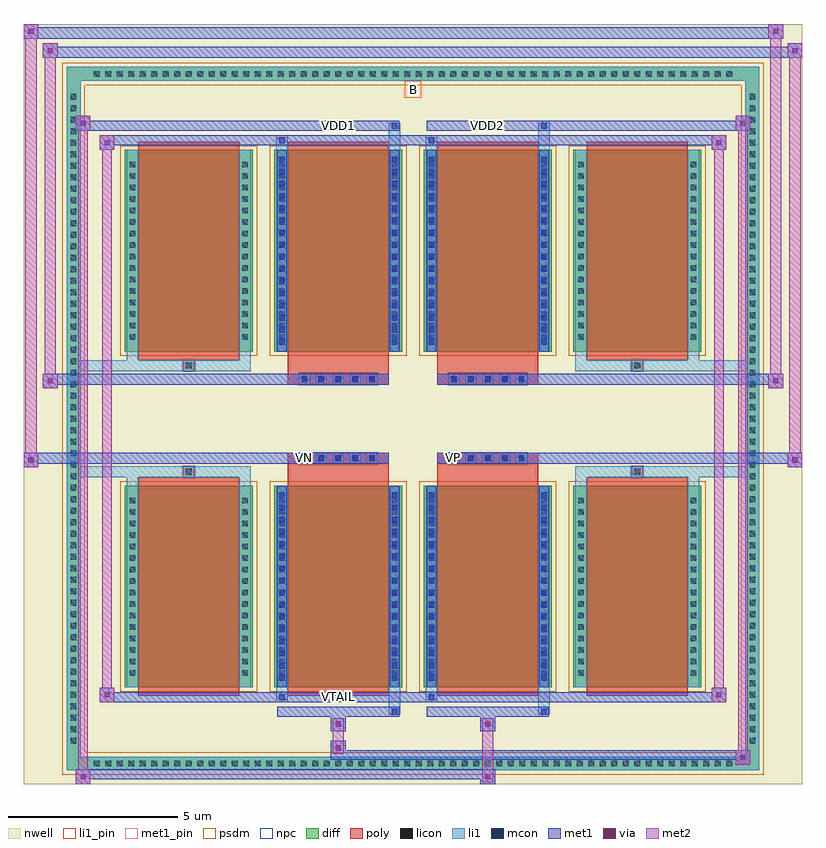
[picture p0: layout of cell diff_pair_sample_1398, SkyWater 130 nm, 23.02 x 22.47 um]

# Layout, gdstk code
import gdstk
lib = gdstk.Library(unit=1e-6, precision=5e-09)
def R(c, l, rs):  # rectangles x0, y0, x1, y1
    for r in rs: c.add(gdstk.rectangle(r[:2], r[2:], *l))
def A(c, l, x, y, w, h, nx, ny, dx, dy):  # array of equal rectangles
    R(c, l, [(x+i*dx, y+j*dy, x+i*dx+w, y+j*dy+h) for i in range(nx) for j in range(ny)])
def P(c, l, *ps):  # polygons
    for p in ps: c.add(gdstk.Polygon(p, *l))
nwell = (64, 20)
diff = (65, 20)
poly = (66, 20)
licon = (66, 44)
li1_pin = (67, 16)
li1 = (67, 20)
mcon = (67, 44)
met1_pin = (68, 16)
met1 = (68, 20)
via = (68, 44)
met2 = (69, 20)
psdm = (94, 20)
npc = (95, 20)

diff_pair_sample_1398 = lib.new_cell('diff_pair_sample_1398')
R(diff_pair_sample_1398, nwell, [(-11.51,-10.8,11.51,11.67), (-8.83,-8.99,-0.01,-0.805), (0.01,-8.99,8.83,-0.805), (-8.83,0.805,-0.01,8.99), (0.01,0.805,8.83,8.99)])
A(diff_pair_sample_1398, diff, -9.555, -10.4, 0.41, 0.41, 56, 2, 0.34, 20.39)
A(diff_pair_sample_1398, diff, -10.24, -9.725, 0.41, 0.41, 1, 57, 0, 0.34)
A(diff_pair_sample_1398, diff, 9.83, -9.725, 0.41, 0.41, 1, 57, 0, 0.34)
A(diff_pair_sample_1398, diff, -8.52, -7.945, 3.78, 5.96, 4, 2, 4.42, 9.93)
R(diff_pair_sample_1398, diff, [(-9.555,-10.4,9.555,-9.99), (-10.24,-9.725,-9.83,9.725), (9.83,-9.725,10.24,9.725), (-9.555,9.99,9.555,10.4)])
P(diff_pair_sample_1398, diff, [(10.24,10.4),(-10.24,10.4),(-10.24,-9.99),(-9.83,-9.99),(-9.83,9.99),(9.83,9.99),(9.83,-9.99),(-9.83,-9.99),(-10.24,-9.99),(-10.24,-10.4),(10.24,-10.4)])
A(diff_pair_sample_1398, poly, -8.13, -8.195, 3, 6.46, 4, 2, 4.42, 9.93)
A(diff_pair_sample_1398, poly, -3.375, -1.335, 0.33, 0.33, 5, 2, 0.5, 2.34)
A(diff_pair_sample_1398, poly, 1.045, -1.335, 0.33, 0.33, 5, 2, 0.5, 2.34)
R(diff_pair_sample_1398, poly, [(-6.795,-1.735,-6.465,-1.405), (-6.795,-1.735,-6.465,-1.405), (-3.71,-1.735,-0.71,-1.335), (0.71,-1.735,3.71,-1.335), (6.465,-1.735,6.795,-1.405), (6.465,-1.735,6.795,-1.405), (-3.71,-1.335,-0.71,-1.005), (0.71,-1.335,3.71,-1.005), (-3.71,1.005,-0.71,1.335), (0.71,1.005,3.71,1.335), (-3.71,1.335,-0.71,1.735), (0.71,1.335,3.71,1.735), (-6.795,1.405,-6.465,1.735), (-6.795,1.405,-6.465,1.735), (6.465,1.405,6.795,1.735), (6.465,1.405,6.795,1.735)])
A(diff_pair_sample_1398, licon, -9.435, -10.28, 0.17, 0.17, 56, 2, 0.34, 20.39)
A(diff_pair_sample_1398, licon, -10.12, -9.605, 0.17, 0.17, 1, 57, 0, 0.34)
A(diff_pair_sample_1398, licon, 9.95, -9.605, 0.17, 0.17, 1, 57, 0, 0.34)
A(diff_pair_sample_1398, licon, -8.38, -7.6, 0.17, 0.17, 1, 16, 0, 0.34)
A(diff_pair_sample_1398, licon, -5.05, -7.6, 0.17, 0.17, 1, 16, 0, 0.34)
A(diff_pair_sample_1398, licon, -3.96, -7.6, 0.17, 0.17, 1, 16, 0, 0.34)
A(diff_pair_sample_1398, licon, -0.63, -7.6, 0.17, 0.17, 1, 16, 0, 0.34)
A(diff_pair_sample_1398, licon, 0.46, -7.6, 0.17, 0.17, 1, 16, 0, 0.34)
A(diff_pair_sample_1398, licon, 3.79, -7.6, 0.17, 0.17, 1, 16, 0, 0.34)
A(diff_pair_sample_1398, licon, 4.88, -7.6, 0.17, 0.17, 1, 16, 0, 0.34)
A(diff_pair_sample_1398, licon, 8.21, -7.6, 0.17, 0.17, 1, 16, 0, 0.34)
A(diff_pair_sample_1398, licon, -3.295, -1.255, 0.17, 0.17, 5, 2, 0.5, 2.34)
A(diff_pair_sample_1398, licon, 1.125, -1.255, 0.17, 0.17, 5, 2, 0.5, 2.34)
A(diff_pair_sample_1398, licon, -8.38, 2.33, 0.17, 0.17, 1, 16, 0, 0.34)
A(diff_pair_sample_1398, licon, -5.05, 2.33, 0.17, 0.17, 1, 16, 0, 0.34)
A(diff_pair_sample_1398, licon, -3.96, 2.33, 0.17, 0.17, 1, 16, 0, 0.34)
A(diff_pair_sample_1398, licon, -0.63, 2.33, 0.17, 0.17, 1, 16, 0, 0.34)
A(diff_pair_sample_1398, licon, 0.46, 2.33, 0.17, 0.17, 1, 16, 0, 0.34)
A(diff_pair_sample_1398, licon, 3.79, 2.33, 0.17, 0.17, 1, 16, 0, 0.34)
A(diff_pair_sample_1398, licon, 4.88, 2.33, 0.17, 0.17, 1, 16, 0, 0.34)
A(diff_pair_sample_1398, licon, 8.21, 2.33, 0.17, 0.17, 1, 16, 0, 0.34)
R(diff_pair_sample_1398, licon, [(-6.715,-1.655,-6.545,-1.485), (6.545,-1.655,6.715,-1.485), (-6.715,1.485,-6.545,1.655), (6.545,1.485,6.715,1.655)])
R(diff_pair_sample_1398, li1_pin, [(-0.25,9.49,0.25,9.99)])
A(diff_pair_sample_1398, li1, -9.515, -10.36, 0.33, 0.33, 56, 2, 0.34, 20.39)
A(diff_pair_sample_1398, li1, -10.2, -9.685, 0.33, 0.33, 1, 57, 0, 0.34)
A(diff_pair_sample_1398, li1, 9.87, -9.685, 0.33, 0.33, 1, 57, 0, 0.34)
A(diff_pair_sample_1398, li1, -3.96, -7.75, 0.17, 0.17, 1, 16, 0, 0.36)
A(diff_pair_sample_1398, li1, -0.63, -7.75, 0.17, 0.17, 1, 16, 0, 0.36)
A(diff_pair_sample_1398, li1, 0.46, -7.75, 0.17, 0.17, 1, 16, 0, 0.36)
A(diff_pair_sample_1398, li1, 3.79, -7.75, 0.17, 0.17, 1, 16, 0, 0.36)
A(diff_pair_sample_1398, li1, -8.46, -7.68, 0.33, 0.33, 1, 16, 0, 0.34)
A(diff_pair_sample_1398, li1, -5.13, -7.68, 0.33, 0.33, 1, 16, 0, 0.34)
A(diff_pair_sample_1398, li1, -4.04, -7.68, 0.33, 0.33, 1, 16, 0, 0.34)
A(diff_pair_sample_1398, li1, -0.71, -7.68, 0.33, 0.33, 1, 16, 0, 0.34)
A(diff_pair_sample_1398, li1, 0.38, -7.68, 0.33, 0.33, 1, 16, 0, 0.34)
A(diff_pair_sample_1398, li1, 3.71, -7.68, 0.33, 0.33, 1, 16, 0, 0.34)
A(diff_pair_sample_1398, li1, 4.8, -7.68, 0.33, 0.33, 1, 16, 0, 0.34)
A(diff_pair_sample_1398, li1, 8.13, -7.68, 0.33, 0.33, 1, 16, 0, 0.34)
A(diff_pair_sample_1398, li1, -3.375, -1.335, 0.33, 0.33, 5, 2, 0.5, 2.34)
A(diff_pair_sample_1398, li1, 1.045, -1.335, 0.33, 0.33, 5, 2, 0.5, 2.34)
A(diff_pair_sample_1398, li1, -3.96, 2.18, 0.17, 0.17, 1, 16, 0, 0.36)
A(diff_pair_sample_1398, li1, -0.63, 2.18, 0.17, 0.17, 1, 16, 0, 0.36)
A(diff_pair_sample_1398, li1, 0.46, 2.18, 0.17, 0.17, 1, 16, 0, 0.36)
A(diff_pair_sample_1398, li1, 3.79, 2.18, 0.17, 0.17, 1, 16, 0, 0.36)
A(diff_pair_sample_1398, li1, -8.46, 2.25, 0.33, 0.33, 1, 16, 0, 0.34)
A(diff_pair_sample_1398, li1, -5.13, 2.25, 0.33, 0.33, 1, 16, 0, 0.34)
A(diff_pair_sample_1398, li1, -4.04, 2.25, 0.33, 0.33, 1, 16, 0, 0.34)
A(diff_pair_sample_1398, li1, -0.71, 2.25, 0.33, 0.33, 1, 16, 0, 0.34)
A(diff_pair_sample_1398, li1, 0.38, 2.25, 0.33, 0.33, 1, 16, 0, 0.34)
A(diff_pair_sample_1398, li1, 3.71, 2.25, 0.33, 0.33, 1, 16, 0, 0.34)
A(diff_pair_sample_1398, li1, 4.8, 2.25, 0.33, 0.33, 1, 16, 0, 0.34)
A(diff_pair_sample_1398, li1, 8.13, 2.25, 0.33, 0.33, 1, 16, 0, 0.34)
R(diff_pair_sample_1398, li1, [(-10.24,-10.4,-9.83,-9.99), (-10.24,-10.4,-9.83,-9.99), (-9.83,-10.4,9.83,-9.99), (9.83,-10.4,10.24,-9.99), (9.83,-10.4,10.24,-9.99), (-10.24,-9.99,-9.83,9.99), (9.83,-9.99,10.24,9.99), (-0.71,-8.75,-0.38,-7.945), (-0.63,-8.75,-0.46,-8.58), (3.71,-8.75,4.04,-7.945), (3.79,-8.75,3.96,-8.58), (-4.04,-8.32,-3.71,-7.945), (-3.96,-8.32,-3.79,-8.15), (0.38,-8.32,0.71,-7.945), (0.46,-8.32,0.63,-8.15), (-8.46,-7.945,-8.13,-1.985), (-5.13,-7.945,-4.8,-1.985), (-4.04,-7.945,-3.71,-1.985), (-0.71,-7.945,-0.38,-1.985), (0.38,-7.945,0.71,-1.985), (3.71,-7.945,4.04,-1.985), (4.8,-7.945,5.13,-1.985), (8.13,-7.945,8.46,-1.985), (-3.96,-7.75,-3.79,-2.18), (-0.63,-7.75,-0.46,-2.18), (0.46,-7.75,0.63,-2.18), (3.79,-7.75,3.96,-2.18), (-8.46,-1.985,-8.13,-1.405), (-5.13,-1.985,-4.8,-1.405), (4.8,-1.985,5.13,-1.405), (8.13,-1.985,8.46,-1.405), (-10.24,-1.735,-6.795,-1.405), (-8.46,-1.735,-6.795,-1.405), (-6.795,-1.735,-6.465,-1.405), (-6.465,-1.735,-4.8,-1.405), (4.8,-1.735,6.465,-1.405), (6.465,-1.735,6.795,-1.405), (6.465,-1.735,10.24,-1.405), (6.795,-1.735,8.46,-1.405), (-10.24,1.405,-6.795,1.735), (-8.46,1.405,-6.795,1.735), (-8.46,1.405,-8.13,1.985), (-6.795,1.405,-6.465,1.735), (-6.465,1.405,-4.8,1.735), (-5.13,1.405,-4.8,1.985), (4.8,1.405,6.465,1.735), (4.8,1.405,5.13,1.985), (6.465,1.405,6.795,1.735), (6.465,1.405,10.24,1.735), (6.795,1.405,8.46,1.735), (8.13,1.405,8.46,1.985), (-8.46,1.985,-8.13,7.945), (-5.13,1.985,-4.8,7.945), (-4.04,1.985,-3.71,7.945), (-0.71,1.985,-0.38,7.945), (0.38,1.985,0.71,7.945), (3.71,1.985,4.04,7.945), (4.8,1.985,5.13,7.945), (8.13,1.985,8.46,7.945), (-3.96,2.18,-3.79,7.75), (-0.63,2.18,-0.46,7.75), (0.46,2.18,0.63,7.75), (3.79,2.18,3.96,7.75), (-4.04,7.945,-3.71,8.32), (-0.71,7.945,-0.38,8.75), (0.38,7.945,0.71,8.32), (3.71,7.945,4.04,8.75), (-3.96,8.15,-3.79,8.32), (0.46,8.15,0.63,8.32), (-0.63,8.58,-0.46,8.75), (3.79,8.58,3.96,8.75), (-10.24,9.99,-9.83,10.4), (-10.24,9.99,-9.83,10.4), (-9.83,9.99,9.83,10.4), (9.83,9.99,10.24,10.4), (9.83,9.99,10.24,10.4)])
A(diff_pair_sample_1398, mcon, -3.96, -7.75, 0.17, 0.17, 1, 16, 0, 0.36)
A(diff_pair_sample_1398, mcon, -0.63, -7.75, 0.17, 0.17, 1, 16, 0, 0.36)
A(diff_pair_sample_1398, mcon, 0.46, -7.75, 0.17, 0.17, 1, 16, 0, 0.36)
A(diff_pair_sample_1398, mcon, 3.79, -7.75, 0.17, 0.17, 1, 16, 0, 0.36)
A(diff_pair_sample_1398, mcon, -3.295, -1.255, 0.17, 0.17, 5, 2, 0.5, 2.34)
A(diff_pair_sample_1398, mcon, 1.125, -1.255, 0.17, 0.17, 5, 2, 0.5, 2.34)
A(diff_pair_sample_1398, mcon, -3.96, 2.18, 0.17, 0.17, 1, 16, 0, 0.36)
A(diff_pair_sample_1398, mcon, -0.63, 2.18, 0.17, 0.17, 1, 16, 0, 0.36)
A(diff_pair_sample_1398, mcon, 0.46, 2.18, 0.17, 0.17, 1, 16, 0, 0.36)
A(diff_pair_sample_1398, mcon, 3.79, 2.18, 0.17, 0.17, 1, 16, 0, 0.36)
R(diff_pair_sample_1398, mcon, [(-0.63,-8.75,-0.46,-8.58), (3.79,-8.75,3.96,-8.58), (-3.96,-8.32,-3.79,-8.15), (0.46,-8.32,0.63,-8.15), (-3.96,8.15,-3.79,8.32), (0.46,8.15,0.63,8.32), (-0.63,8.58,-0.46,8.75), (3.79,8.58,3.96,8.75)])
R(diff_pair_sample_1398, met1_pin, [(-2.345,-8.36,-2.075,-8.09), (-3.345,-1.295,-3.075,-1.025), (1.075,-1.295,1.345,-1.025), (-2.345,8.54,-2.075,8.81), (2.075,8.54,2.345,8.81)])
A(diff_pair_sample_1398, met1, -4.02, -7.81, 0.29, 0.29, 1, 16, 0, 0.36)
A(diff_pair_sample_1398, met1, -0.69, -7.81, 0.29, 0.29, 1, 16, 0, 0.36)
A(diff_pair_sample_1398, met1, 0.4, -7.81, 0.29, 0.29, 1, 16, 0, 0.36)
A(diff_pair_sample_1398, met1, 3.73, -7.81, 0.29, 0.29, 1, 16, 0, 0.36)
A(diff_pair_sample_1398, met1, -3.355, -1.315, 0.29, 0.29, 5, 2, 0.5, 2.34)
A(diff_pair_sample_1398, met1, 1.065, -1.315, 0.29, 0.29, 5, 2, 0.5, 2.34)
A(diff_pair_sample_1398, met1, -4.02, 2.12, 0.29, 0.29, 1, 16, 0, 0.36)
A(diff_pair_sample_1398, met1, -0.69, 2.12, 0.29, 0.29, 1, 16, 0, 0.36)
A(diff_pair_sample_1398, met1, 0.4, 2.12, 0.29, 0.29, 1, 16, 0, 0.36)
A(diff_pair_sample_1398, met1, 3.73, 2.12, 0.29, 0.29, 1, 16, 0, 0.36)
R(diff_pair_sample_1398, met1, [(-9.97,-10.8,-9.54,-10.37), (1.995,-10.8,2.425,-10.37), (-9.97,-10.66,2.425,-10.37), (9.54,-10.23,9.97,-9.8), (-2.425,-10.09,9.97,-9.8), (-2.425,-9.95,-1.995,-9.52), (-2.425,-9.24,-1.995,-8.81), (1.995,-9.24,2.425,-8.81), (-4.02,-8.81,-0.4,-8.52), (-0.69,-8.81,-0.4,-8.52), (0.4,-8.81,4.02,-8.52), (3.73,-8.81,4.02,-8.52), (-9.26,-8.38,-8.83,-7.95), (-9.26,-8.38,-4.02,-8.09), (-4.02,-8.38,-3.73,-8.09), (-4.02,-8.38,-0.4,-8.09), (-0.4,-8.38,0.4,-8.09), (0.4,-8.38,0.69,-8.09), (0.4,-8.38,4.02,-8.09), (4.02,-8.38,9.26,-8.09), (8.83,-8.38,9.26,-7.95), (-4.02,-7.945,-3.73,-1.985), (-0.69,-7.945,-0.4,-1.985), (0.4,-7.945,0.69,-1.985), (3.73,-7.945,4.02,-1.985), (-11.51,-1.435,-11.08,-1.005), (11.08,-1.435,11.51,-1.005), (-11.51,-1.335,-0.71,-1.005), (-3.71,-1.335,-0.71,-1.005), (0.71,-1.335,3.71,-1.005), (0.71,-1.335,11.51,-1.005), (-10.94,0.905,-10.51,1.335), (10.51,0.905,10.94,1.335), (-10.94,1.005,-3.71,1.335), (-3.71,1.005,-0.71,1.335), (0.71,1.005,3.71,1.335), (3.71,1.005,10.94,1.335), (-4.02,1.985,-3.73,7.945), (-0.69,1.985,-0.4,7.945), (0.4,1.985,0.69,7.945), (3.73,1.985,4.02,7.945), (-9.26,7.95,-8.83,8.38), (8.83,7.95,9.26,8.38), (-9.26,8.09,-4.02,8.38), (-4.02,8.09,-3.73,8.38), (-4.02,8.09,-0.4,8.38), (-0.4,8.09,0.4,8.38), (0.4,8.09,0.69,8.38), (0.4,8.09,4.02,8.38), (4.02,8.09,9.26,8.38), (-9.97,8.52,-9.54,8.95), (-9.97,8.52,-4.02,8.81), (-4.02,8.52,-0.4,8.81), (-0.69,8.52,-0.4,8.81), (0.4,8.52,4.02,8.81), (3.73,8.52,4.02,8.81), (4.02,8.52,9.97,8.81), (9.54,8.52,9.97,8.95), (-10.94,10.67,-10.51,11.1), (-10.94,10.67,-8.83,11), (-8.83,10.67,8.83,11), (8.83,10.67,11.51,11), (11.08,10.67,11.51,11.1), (-11.51,11.24,-11.08,11.67), (-11.51,11.24,-8.83,11.57), (-8.83,11.24,8.83,11.57), (8.83,11.24,10.94,11.57), (10.51,11.24,10.94,11.67)])
R(diff_pair_sample_1398, via, [(-9.83,-10.66,-9.68,-10.51), (2.135,-10.66,2.285,-10.51), (9.68,-10.09,9.83,-9.94), (-2.285,-9.81,-2.135,-9.66), (-2.285,-9.1,-2.135,-8.95), (2.135,-9.1,2.285,-8.95), (-9.12,-8.24,-8.97,-8.09), (8.97,-8.24,9.12,-8.09), (-11.37,-1.295,-11.22,-1.145), (11.22,-1.295,11.37,-1.145), (-10.8,1.045,-10.65,1.195), (10.65,1.045,10.8,1.195), (-9.12,8.09,-8.97,8.24), (8.97,8.09,9.12,8.24), (-9.83,8.66,-9.68,8.81), (9.68,8.66,9.83,8.81), (-10.8,10.81,-10.65,10.96), (11.22,10.81,11.37,10.96), (-11.37,11.38,-11.22,11.53), (10.65,11.38,10.8,11.53)])
R(diff_pair_sample_1398, met2, [(-9.97,-10.8,-9.54,-10.37), (-9.9,-10.8,-9.61,8.95), (-9.61,-10.8,-9.54,-10.37), (-9.92,-10.75,-9.59,-10.42), (2.045,-10.75,2.375,-10.42), (2.045,-10.42,2.375,-9.19), (9.54,-10.23,9.97,-9.8), (9.61,-10.23,9.9,8.95), (9.9,-10.23,9.97,-9.8), (9.59,-10.18,9.92,-9.85), (-2.375,-9.9,-2.045,-9.57), (-2.375,-9.57,-2.045,-9.19), (-2.375,-9.19,-2.045,-8.86), (2.045,-9.19,2.375,-8.86), (-9.26,-8.38,-8.83,-7.95), (-9.19,-8.38,-8.9,8.38), (-8.9,-8.38,-8.83,-7.95), (8.83,-8.38,9.26,-7.95), (8.9,-8.38,9.19,8.38), (9.19,-8.38,9.26,-7.95), (-9.21,-8.33,-8.88,-8), (8.88,-8.33,9.21,-8), (-11.51,-1.435,-11.08,-1.005), (-11.46,-1.435,-11.13,11.67), (-11.13,-1.435,-11.08,-1.005), (11.08,-1.435,11.51,-1.005), (11.13,-1.435,11.46,11.1), (11.46,-1.435,11.51,-1.005), (-11.46,-1.385,-11.13,-1.055), (11.13,-1.385,11.46,-1.055), (-10.94,0.905,-10.51,1.335), (-10.89,0.905,-10.56,11.1), (-10.56,0.905,-10.51,1.335), (10.51,0.905,10.94,1.335), (10.56,0.905,10.89,11.67), (10.89,0.905,10.94,1.335), (-10.89,0.955,-10.56,1.285), (10.56,0.955,10.89,1.285), (-9.26,7.95,-8.83,8.38), (-8.9,7.95,-8.83,8.38), (8.83,7.95,9.26,8.38), (9.19,7.95,9.26,8.38), (-9.21,8,-8.88,8.33), (8.88,8,9.21,8.33), (-9.97,8.52,-9.54,8.95), (-9.61,8.52,-9.54,8.95), (9.54,8.52,9.97,8.95), (9.9,8.52,9.97,8.95), (-9.92,8.57,-9.59,8.9), (9.59,8.57,9.92,8.9), (-10.94,10.67,-10.51,11.1), (-10.56,10.67,-10.51,11.1), (11.08,10.67,11.51,11.1), (11.46,10.67,11.51,11.1), (-10.89,10.72,-10.56,11.05), (11.13,10.72,11.46,11.05), (-11.51,11.24,-11.08,11.67), (-11.13,11.24,-11.08,11.67), (10.51,11.24,10.94,11.67), (10.89,11.24,10.94,11.67), (-11.46,11.29,-11.13,11.62), (10.56,11.29,10.89,11.62)])
A(diff_pair_sample_1398, psdm, -8.65, -8.075, 4.04, 6.22, 4, 2, 4.42, 9.93)
P(diff_pair_sample_1398, psdm, [(10.37,10.53),(-10.37,10.53),(-10.37,-9.86),(-9.7,-9.86),(-9.7,9.86),(9.7,9.86),(9.7,-9.86),(-9.7,-9.86),(-10.37,-9.86),(-10.37,-10.53),(10.37,-10.53)])
A(diff_pair_sample_1398, npc, -3.395, -1.355, 0.37, 0.37, 5, 2, 0.5, 2.34)
A(diff_pair_sample_1398, npc, 1.025, -1.355, 0.37, 0.37, 5, 2, 0.5, 2.34)
R(diff_pair_sample_1398, npc, [(-6.815,-1.755,-6.445,-1.385), (6.445,-1.755,6.815,-1.385), (-3.395,-1.355,-2.525,-0.985), (-3.395,-1.355,-2.525,-0.985), (-2.895,-1.355,-2.025,-0.985), (-2.895,-1.355,-2.025,-0.985), (-2.395,-1.355,-1.525,-0.985), (-2.395,-1.355,-1.525,-0.985), (-1.895,-1.355,-1.025,-0.985), (-1.895,-1.355,-1.025,-0.985), (1.025,-1.355,1.895,-0.985), (1.025,-1.355,1.895,-0.985), (1.525,-1.355,2.395,-0.985), (1.525,-1.355,2.395,-0.985), (2.025,-1.355,2.895,-0.985), (2.025,-1.355,2.895,-0.985), (2.525,-1.355,3.395,-0.985), (2.525,-1.355,3.395,-0.985), (-3.395,0.985,-2.525,1.355), (-3.395,0.985,-2.525,1.355), (-2.895,0.985,-2.025,1.355), (-2.895,0.985,-2.025,1.355), (-2.395,0.985,-1.525,1.355), (-2.395,0.985,-1.525,1.355), (-1.895,0.985,-1.025,1.355), (-1.895,0.985,-1.025,1.355), (1.025,0.985,1.895,1.355), (1.025,0.985,1.895,1.355), (1.525,0.985,2.395,1.355), (1.525,0.985,2.395,1.355), (2.025,0.985,2.895,1.355), (2.025,0.985,2.895,1.355), (2.525,0.985,3.395,1.355), (2.525,0.985,3.395,1.355), (-6.815,1.385,-6.445,1.755), (6.445,1.385,6.815,1.755)])
diff_pair_sample_1398.add(gdstk.Label('VTAIL', (-2.21,-8.225), layer=68, texttype=5))
diff_pair_sample_1398.add(gdstk.Label('VN', (-3.21,-1.16), layer=68, texttype=5))
diff_pair_sample_1398.add(gdstk.Label('VP', (1.21,-1.16), layer=68, texttype=5))
diff_pair_sample_1398.add(gdstk.Label('B', (0,9.74), layer=67, texttype=5))
diff_pair_sample_1398.add(gdstk.Label('VDD2', (2.21,8.675), layer=68, texttype=5))
diff_pair_sample_1398.add(gdstk.Label('VDD1', (-2.21,8.675), layer=68, texttype=5))

lib.write_gds('diff_pair_sample_1398.gds')
